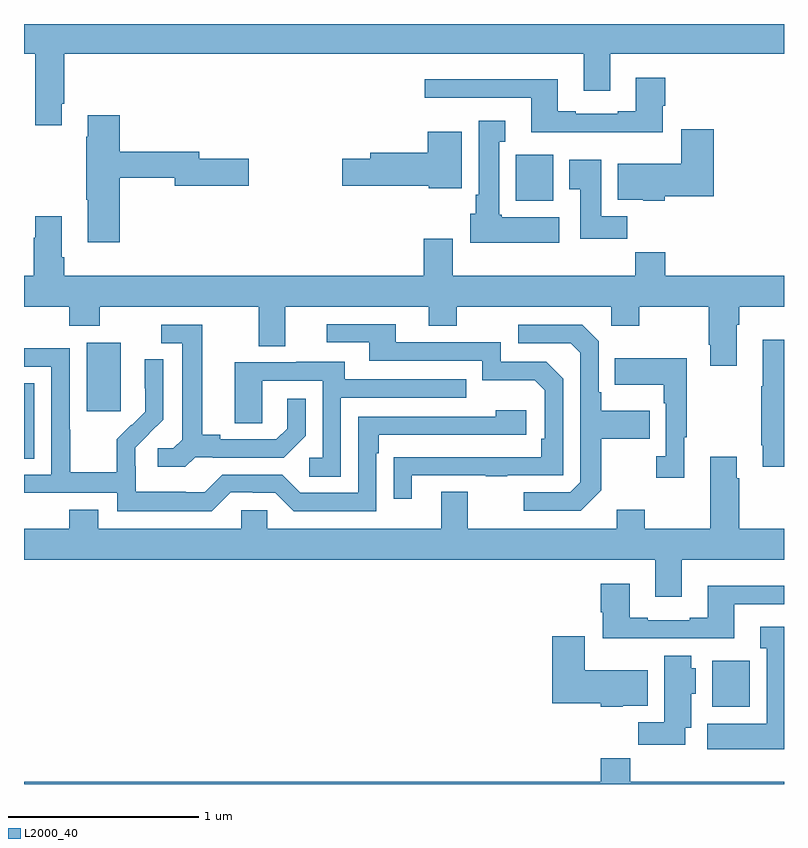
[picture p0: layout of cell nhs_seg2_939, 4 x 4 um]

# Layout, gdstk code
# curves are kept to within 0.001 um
import gdstk
lib = gdstk.Library(unit=1e-6, precision=1e-09)
def R(c, l, rs):  # rectangles x0, y0, x1, y1
    for r in rs: c.add(gdstk.rectangle(r[:2], r[2:], *l))
def P(c, l, *ps):  # polygons
    for p in ps: c.add(gdstk.Polygon(p, *l))
L2000_40 = (2000, 40)

nhs_seg2_939 = lib.new_cell('nhs_seg2_939')
R(nhs_seg2_939, L2000_40, [(162.623,636.206,162.82,636.448), (159,637.513,159.055,637.91), (159.329,637.761,159.508,638.122), (161.588,638.87,161.785,639.112)])
P(nhs_seg2_939, L2000_40, [(159,639.644),(159.059,639.644),(159.059,639.267),(159.199,639.267),(159.199,639.379),(159.212,639.379),(159.212,639.644),(161.945,639.644),(161.945,639.45),(162.085,639.45),(162.085,639.644),(163,639.644),(163,639.8),(159,639.8)],
  [(162.361,639.369),(162.374,639.369),(162.374,639.517),(162.221,639.517),(162.221,639.34),(162.125,639.34),(162.125,639.327),(161.905,639.327),(161.905,639.34),(161.809,639.34),(161.809,639.508),(161.109,639.508),(161.109,639.411),(161.669,639.411),(161.669,639.23),(162.361,639.23)],
  [(159.503,638.992),(159.794,638.992),(159.794,638.95),(160.183,638.95),(160.183,639.092),(159.922,639.092),(159.922,639.128),(159.503,639.128),(159.503,639.319),(159.335,639.319),(159.335,639.206),(159.328,639.206),(159.328,638.875),(159.335,638.875),(159.335,638.652),(159.503,638.652)],
  [(161.818,638.782),(161.514,638.782),(161.514,638.796),(161.5,638.796),(161.5,639.179),(161.533,639.179),(161.533,639.292),(161.393,639.292),(161.393,638.902),(161.378,638.902),(161.378,638.802),(161.348,638.802),(161.348,638.648),(161.818,638.648)],
  [(162.372,638.894),(162.629,638.894),(162.629,639.247),(162.458,639.247),(162.458,639.064),(162.125,639.064),(162.125,638.876),(162.258,638.876),(162.258,638.87),(162.372,638.87)],
  [(161.305,639.232),(161.126,639.232),(161.126,639.122),(160.823,639.122),(160.823,639.092),(160.674,639.092),(160.674,638.95),(161.13,638.95),(161.13,638.936),(161.305,638.936)],
  [(162.176,638.788),(162.037,638.788),(162.037,639.085),(161.87,639.085),(161.87,638.929),(161.927,638.929),(161.927,638.67),(162.176,638.67)],
  [(162.751,638.216),(162.764,638.216),(162.764,638.312),(163,638.312),(163,638.476),(162.374,638.476),(162.374,638.6),(162.217,638.6),(162.217,638.476),(161.257,638.476),(161.257,638.671),(161.105,638.671),(161.105,638.476),(159.212,638.476),(159.212,638.572),(159.199,638.572),(159.199,638.788),(159.059,638.788),(159.059,638.675),(159.052,638.675),(159.052,638.476),(159,638.476),(159,638.312),(159.239,638.312),(159.239,638.213),(159.399,638.213),(159.399,638.312),(160.235,638.312),(160.235,638.104),(160.375,638.104),(160.375,638.312),(161.129,638.312),(161.129,638.213),(161.277,638.213),(161.277,638.312),(162.09,638.312),(162.09,638.213),(162.237,638.213),(162.237,638.312),(162.604,638.312),(162.604,638.113),(162.611,638.113),(162.611,638.001),(162.751,638.001)],
  [(161.041,637.425),(161.431,637.425),(161.431,637.42),(161.543,637.42),(161.543,637.425),(161.838,637.425),(161.838,637.932),(161.748,638.022),(161.508,638.022),(161.508,638.124),(160.957,638.124),(160.957,638.22),(160.593,638.22),(160.593,638.124),(160.817,638.124),(160.817,638.028),(161.412,638.028),(161.412,637.925),(161.689,637.925),(161.742,637.872),(161.742,637.618),(161.722,637.618),(161.722,637.521),(160.945,637.52),(160.945,637.302),(161.041,637.302)],
  [(162.037,637.345),(162.037,637.618),(162.293,637.618),(162.293,637.765),(162.037,637.765),(162.037,637.861),(162.024,637.861),(162.024,638.13),(161.937,638.217),(161.601,638.217),(161.601,638.121),(161.877,638.121),(161.928,638.07),(161.928,637.389),(161.874,637.335),(161.631,637.335),(161.631,637.239),(161.931,637.239)],
  [(159.9,637.521),(159.994,637.521),(159.994,637.518),(160.366,637.518),(160.482,637.634),(160.482,637.828),(160.385,637.828),(160.385,637.671),(160.328,637.614),(160.033,637.614),(160.033,637.637),(159.937,637.637),(159.937,638.217),(159.723,638.217),(159.723,638.121),(159.833,638.121),(159.833,637.613),(159.786,637.566),(159.705,637.566),(159.705,637.469),(159.848,637.469)],
  [(163,638.137),(162.887,638.137),(162.887,637.893),(162.88,637.893),(162.88,637.582),(162.887,637.582),(162.887,637.47),(163,637.47)],
  [(160.089,637.335),(160.205,637.335),(160.205,637.332),(160.323,637.332),(160.419,637.236),(160.854,637.236),(160.854,637.541),(160.867,637.541),(160.867,637.638),(161.644,637.638),(161.644,637.768),(161.483,637.768),(161.483,637.734),(160.758,637.734),(160.758,637.332),(160.455,637.332),(160.359,637.428),(160.044,637.428),(159.951,637.335),(159.851,637.335),(159.851,637.339),(159.588,637.339),(159.588,637.473),(159.586,637.473),(159.586,637.57),(159.732,637.718),(159.732,638.036),(159.636,638.036),(159.636,637.882),(159.638,637.882),(159.638,637.76),(159.567,637.689),(159.564,637.692),(159.487,637.615),(159.487,637.441),(159.243,637.441),(159.243,637.664),(159.24,637.664),(159.24,638.094),(159,638.094),(159,637.995),(159.144,637.995),(159.144,637.428),(159,637.428),(159,637.332),(159.492,637.332),(159.492,637.235),(159.989,637.235)],
  [(162.475,637.625),(162.487,637.625),(162.487,638.041),(162.109,638.041),(162.109,637.901),(162.366,637.901),(162.366,637.805),(162.378,637.805),(162.378,637.526),(162.327,637.526),(162.327,637.413),(162.475,637.413)],
  [(160.668,637.833),(161.327,637.833),(161.327,637.929),(160.687,637.929),(160.687,638.023),(160.433,638.023),(160.433,638.019),(160.109,638.019),(160.109,637.699),(160.254,637.699),(160.254,637.923),(160.572,637.923),(160.572,637.518),(160.5,637.518),(160.5,637.417),(160.668,637.417)],
  [(162.463,636.98),(163,636.98),(163,637.144),(162.764,637.144),(162.764,637.409),(162.751,637.409),(162.751,637.522),(162.611,637.522),(162.611,637.144),(162.267,637.144),(162.267,637.243),(162.119,637.243),(162.119,637.144),(161.335,637.144),(161.335,637.339),(161.195,637.339),(161.195,637.144),(160.281,637.144),(160.281,637.242),(160.143,637.242),(160.143,637.144),(159.391,637.144),(159.391,637.243),(159.239,637.243),(159.239,637.144),(159,637.144),(159,636.98),(162.323,636.98),(162.323,636.786),(162.463,636.786)],
  [(162.279,636.567),(162.739,636.567),(162.739,636.747),(163,636.747),(163,636.844),(162.599,636.844),(162.599,636.676),(162.503,636.676),(162.503,636.663),(162.283,636.663),(162.283,636.676),(162.187,636.676),(162.187,636.853),(162.035,636.853),(162.035,636.705),(162.047,636.705),(162.047,636.566),(162.279,636.566)],
  [(163,636.628),(162.875,636.628),(162.875,636.515),(162.908,636.515),(162.908,636.118),(162.596,636.118),(162.596,635.984),(163,635.984)],
  [(162.15,636.212),(162.283,636.212),(162.283,636.4),(161.95,636.4),(161.95,636.577),(161.78,636.577),(161.78,636.224),(162.036,636.224),(162.036,636.206),(162.15,636.206)],
  [(162.481,636.095),(162.511,636.095),(162.511,636.276),(162.535,636.276),(162.535,636.408),(162.511,636.408),(162.511,636.475),(162.371,636.475),(162.371,636.124),(162.232,636.124),(162.232,636.006),(162.481,636.006)],
  [(163,635.812),(162.191,635.812),(162.191,635.936),(162.035,635.936),(162.035,635.812),(159,635.812),(159,635.8),(163,635.8)])

lib.write_gds('nhs_seg2_939.gds')
